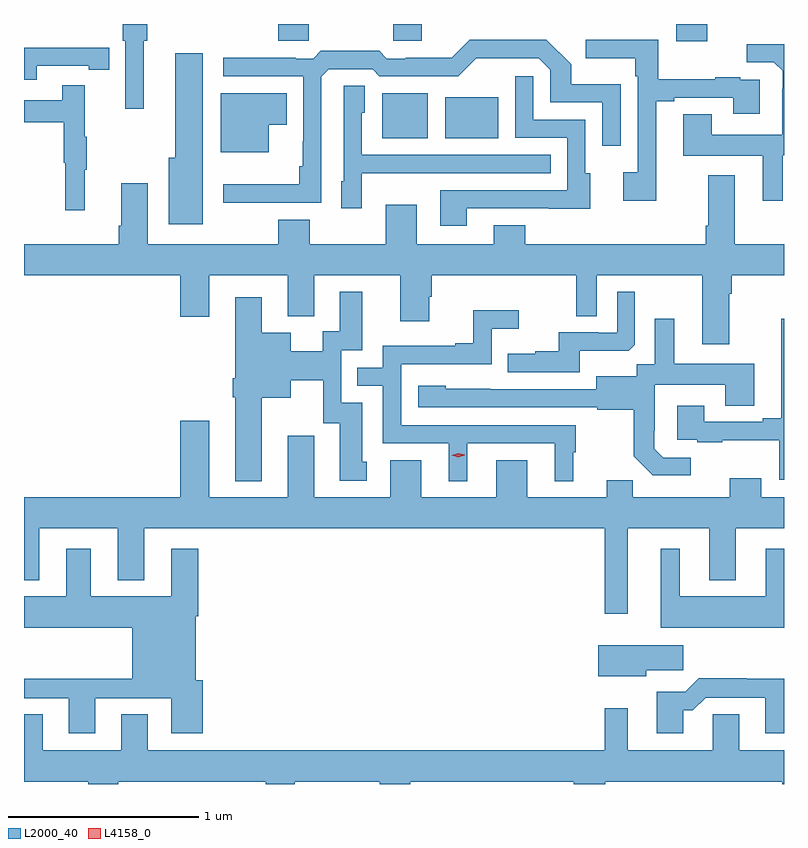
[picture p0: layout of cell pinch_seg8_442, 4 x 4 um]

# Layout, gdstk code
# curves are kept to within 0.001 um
import gdstk
lib = gdstk.Library(unit=1e-6, precision=1e-09)
def R(c, l, rs):  # rectangles x0, y0, x1, y1
    for r in rs: c.add(gdstk.rectangle(r[:2], r[2:], *l))
def P(c, l, *ps):  # polygons
    for p in ps: c.add(gdstk.Polygon(p, *l))
L2000_40 = (2000, 40)
L4158_0 = (4158, 0)

pinch_seg8_442 = lib.new_cell('pinch_seg8_442')
R(pinch_seg8_442, L2000_40, [(315.389,1137.203,315.628,1137.439), (315.722,1137.203,316,1137.418), (316.937,1137.713,317.101,1137.803), (314.843,1137.714,315.003,1137.803), (315.448,1137.714,315.598,1137.803)])
P(pinch_seg8_442, L2000_40, [(314.134,1137.716),(314.153,1137.716),(314.153,1137.803),(314.024,1137.803),(314.024,1137.716),(314.037,1137.716),(314.037,1137.357),(314.134,1137.357)],
  [(316.831,1137.396),(316.927,1137.396),(316.927,1137.414),(317.237,1137.414),(317.237,1137.33),(317.377,1137.33),(317.377,1137.51),(317.273,1137.51),(317.273,1137.523),(317.141,1137.523),(317.141,1137.512),(316.843,1137.512),(316.843,1137.72),(316.461,1137.72),(316.461,1137.623),(316.722,1137.623),(316.722,1137.527),(316.734,1137.527),(316.734,1137.022),(316.659,1137.022),(316.659,1136.874),(316.831,1136.874)],
  [(315.069,1137.525),(315.108,1137.564),(315.339,1137.564),(315.375,1137.528),(315.789,1137.528),(315.884,1137.623),(316.212,1137.624),(316.275,1137.561),(316.275,1137.39),(316.548,1137.39),(316.548,1137.162),(316.644,1137.162),(316.644,1137.487),(316.383,1137.487),(316.383,1137.59),(316.252,1137.72),(315.849,1137.72),(315.755,1137.626),(315.514,1137.626),(315.514,1137.621),(315.414,1137.621),(315.375,1137.661),(315.067,1137.661),(315.027,1137.621),(314.933,1137.621),(314.933,1137.626),(314.553,1137.626),(314.553,1137.528),(314.973,1137.528),(314.972,1137.055),(314.953,1137.055),(314.953,1136.959),(314.553,1136.959),(314.553,1136.862),(315.069,1136.862)],
  [(317.497,1137.112),(317.504,1137.112),(317.504,1137.697),(317.307,1137.697),(317.307,1137.603),(317.451,1137.603),(317.498,1137.556),(317.498,1137.461),(317.496,1137.461),(317.496,1137.22),(317.125,1137.22),(317.125,1137.329),(316.973,1137.329),(316.973,1137.11),(317.393,1137.11),(317.393,1136.874),(317.497,1136.874)],
  [(313.572,1137.582),(313.844,1137.582),(313.844,1137.562),(313.952,1137.562),(313.952,1137.678),(313.844,1137.678),(313.844,1137.679),(313.504,1137.679),(313.504,1137.51),(313.572,1137.51)],
  [(314.446,1137.649),(314.3,1137.649),(314.3,1137.1),(314.267,1137.1),(314.267,1136.748),(314.446,1136.748)],
  [(315.835,1136.832),(316.265,1136.832),(316.265,1136.831),(316.483,1136.831),(316.483,1137.018),(316.458,1137.018),(316.458,1137.3),(316.185,1137.3),(316.185,1137.529),(316.089,1137.529),(316.089,1137.204),(316.362,1137.204),(316.362,1136.928),(315.695,1136.928),(315.695,1136.742),(315.835,1136.742)],
  [(313.823,1137.035),(313.834,1137.035),(313.834,1137.209),(313.823,1137.209),(313.823,1137.481),(313.705,1137.481),(313.705,1137.402),(313.504,1137.402),(313.504,1137.286),(313.713,1137.286),(313.713,1137.072),(313.72,1137.072),(313.72,1136.823),(313.823,1136.823)],
  [(315.282,1137.017),(315.599,1137.017),(315.599,1137.018),(316.277,1137.018),(316.277,1137.114),(315.282,1137.114),(315.282,1137.336),(315.298,1137.336),(315.298,1137.479),(315.186,1137.479),(315.186,1136.976),(315.173,1136.976),(315.173,1136.832),(315.282,1136.832)],
  [(314.791,1137.274),(314.888,1137.274),(314.888,1137.439),(314.54,1137.439),(314.54,1137.128),(314.791,1137.128)],
  [(317.215,1136.384),(317.228,1136.384),(317.228,1136.48),(317.504,1136.48),(317.504,1136.644),(317.245,1136.644),(317.245,1137.007),(317.105,1137.007),(317.105,1136.74),(317.093,1136.74),(317.093,1136.644),(316.141,1136.644),(316.141,1136.743),(315.977,1136.743),(315.977,1136.644),(315.571,1136.644),(315.571,1136.851),(315.407,1136.851),(315.407,1136.644),(315.007,1136.644),(315.007,1136.773),(314.843,1136.773),(314.843,1136.644),(314.155,1136.644),(314.155,1136.965),(314.015,1136.965),(314.015,1136.74),(314.003,1136.74),(314.003,1136.644),(313.504,1136.644),(313.504,1136.48),(314.327,1136.48),(314.327,1136.262),(314.479,1136.262),(314.479,1136.48),(314.891,1136.48),(314.891,1136.264),(315.031,1136.264),(315.031,1136.48),(315.485,1136.48),(315.485,1136.238),(315.637,1136.238),(315.637,1136.367),(315.65,1136.367),(315.65,1136.48),(316.41,1136.48),(316.41,1136.266),(316.518,1136.266),(316.518,1136.48),(317.075,1136.48),(317.075,1136.118),(317.215,1136.118)],
  [(316.429,1136.084),(316.687,1136.084),(316.719,1136.115),(316.719,1136.395),(316.626,1136.395),(316.626,1136.178),(316.526,1136.178),(316.526,1136.181),(316.319,1136.181),(316.319,1136.08),(316.195,1136.08),(316.195,1136.068),(316.051,1136.068),(316.051,1135.971),(316.429,1135.971)],
  [(314.755,1135.835),(314.908,1135.835),(314.908,1135.928),(315.078,1135.928),(315.078,1135.701),(315.167,1135.701),(315.167,1135.398),(315.307,1135.398),(315.307,1135.5),(315.283,1135.5),(315.283,1135.809),(315.174,1135.809),(315.174,1136.085),(315.283,1136.085),(315.283,1136.395),(315.167,1136.395),(315.167,1136.186),(315.077,1136.186),(315.077,1136.08),(314.908,1136.08),(314.908,1136.179),(314.755,1136.179),(314.755,1136.365),(314.615,1136.365),(314.615,1135.939),(314.603,1135.939),(314.603,1135.839),(314.615,1135.839),(314.615,1135.397),(314.755,1135.397)],
  [(315.838,1135.596),(316.298,1135.596),(316.298,1135.397),(316.396,1135.397),(316.396,1135.548),(316.408,1135.548),(316.408,1135.692),(315.489,1135.692),(315.489,1136.013),(315.966,1136.013),(315.966,1136.198),(316.108,1136.198),(316.108,1136.297),(315.868,1136.297),(315.868,1136.122),(315.773,1136.122),(315.773,1136.109),(315.393,1136.109),(315.393,1135.995),(315.259,1135.995),(315.259,1135.899),(315.393,1135.899),(315.393,1135.596),(315.74,1135.596),(315.74,1135.397),(315.838,1135.397)],
  [(317.014,1135.521),(316.869,1135.521),(316.822,1135.568),(316.822,1135.663),(316.824,1135.663),(316.824,1135.904),(317.195,1135.904),(317.195,1135.795),(317.347,1135.795),(317.347,1136.014),(316.927,1136.014),(316.927,1136.251),(316.823,1136.251),(316.823,1136.012),(316.728,1136.012),(316.728,1135.948),(316.517,1135.948),(316.517,1135.881),(315.723,1135.882),(315.723,1135.9),(315.579,1135.9),(315.579,1135.785),(316.521,1135.785),(316.521,1135.773),(316.713,1135.773),(316.713,1135.527),(316.813,1135.427),(317.014,1135.427)],
  [(317.504,1136.251),(317.489,1136.251),(317.489,1135.729),(317.393,1135.729),(317.393,1135.71),(317.083,1135.71),(317.083,1135.795),(316.943,1135.795),(316.943,1135.614),(317.047,1135.614),(317.047,1135.602),(317.179,1135.602),(317.179,1135.613),(317.478,1135.613),(317.478,1135.404),(317.504,1135.404)],
  [(316.681,1135.148),(317.111,1135.148),(317.111,1134.875),(317.251,1134.875),(317.251,1135.148),(317.504,1135.148),(317.504,1135.312),(317.383,1135.312),(317.383,1135.411),(317.219,1135.411),(317.219,1135.312),(316.709,1135.312),(316.709,1135.403),(316.571,1135.403),(316.571,1135.312),(316.153,1135.312),(316.153,1135.507),(315.989,1135.507),(315.989,1135.312),(315.595,1135.312),(315.595,1135.507),(315.431,1135.507),(315.431,1135.312),(315.031,1135.312),(315.031,1135.636),(314.891,1135.636),(314.891,1135.312),(314.479,1135.312),(314.479,1135.714),(314.327,1135.714),(314.327,1135.312),(313.504,1135.312),(313.504,1134.875),(313.585,1134.875),(313.585,1135.148),(313.997,1135.148),(313.997,1134.875),(314.137,1134.875),(314.137,1135.148),(316.56,1135.148),(316.56,1134.699),(316.681,1134.699)],
  [(317.504,1135.042),(317.408,1135.042),(317.408,1134.79),(316.954,1134.79),(316.954,1135.042),(316.856,1135.042),(316.856,1134.626),(317.504,1134.626)],
  [(313.879,1134.255),(314.279,1134.255),(314.279,1134.069),(314.444,1134.069),(314.444,1134.348),(314.407,1134.348),(314.407,1134.686),(314.42,1134.686),(314.42,1135.042),(314.279,1135.042),(314.279,1134.79),(313.855,1134.79),(313.855,1135.042),(313.727,1135.042),(313.727,1134.79),(313.504,1134.79),(313.504,1134.626),(314.075,1134.626),(314.075,1134.356),(313.504,1134.356),(313.504,1134.255),(313.739,1134.255),(313.739,1134.069),(313.879,1134.069)],
  [(316.78,1134.403),(316.975,1134.403),(316.975,1134.532),(316.526,1134.532),(316.526,1134.371),(316.78,1134.371)],
  [(316.975,1134.191),(317.024,1134.191),(317.091,1134.258),(317.405,1134.258),(317.405,1134.069),(317.504,1134.069),(317.504,1134.356),(317.309,1134.356),(317.309,1134.359),(317.054,1134.359),(316.984,1134.289),(316.835,1134.289),(316.835,1134.069),(316.975,1134.069)],
  [(314,1133.816),(314.777,1133.816),(314.777,1133.803),(314.929,1133.803),(314.929,1133.816),(315.376,1133.816),(315.376,1133.803),(315.536,1133.803),(315.536,1133.816),(316.397,1133.816),(316.397,1133.803),(316.562,1133.803),(316.562,1133.816),(317.495,1133.816),(317.495,1133.803),(317.504,1133.803),(317.504,1133.98),(317.269,1133.98),(317.269,1134.17),(317.13,1134.17),(317.13,1133.98),(316.681,1133.98),(316.681,1134.202),(316.56,1134.202),(316.56,1133.98),(314.155,1133.98),(314.155,1134.17),(314.015,1134.17),(314.015,1133.98),(313.603,1133.98),(313.603,1134.17),(313.504,1134.17),(313.504,1133.816),(313.843,1133.816),(313.843,1133.803),(314,1133.803)])
P(pinch_seg8_442, L4158_0, [(315.789,1135.524),(315.754,1135.532),(315.753,1135.532),(315.754,1135.533),(315.789,1135.543),(315.824,1135.535),(315.825,1135.535),(315.824,1135.534)])

lib.write_gds('pinch_seg8_442.gds')
